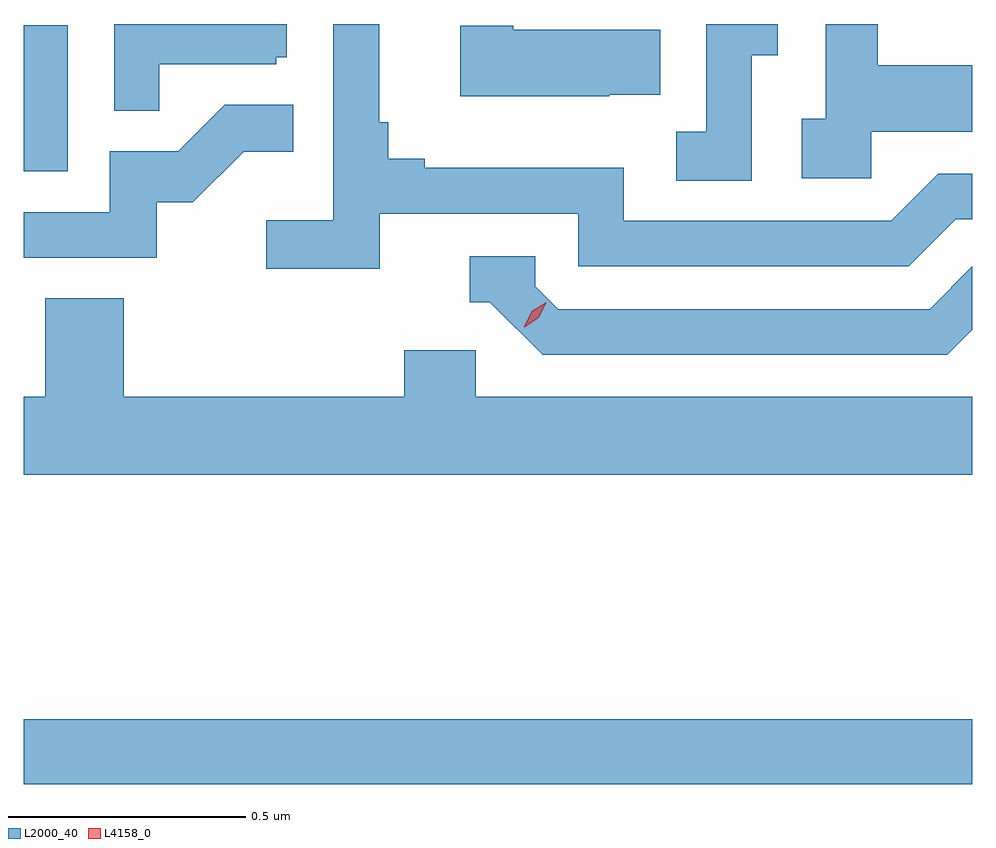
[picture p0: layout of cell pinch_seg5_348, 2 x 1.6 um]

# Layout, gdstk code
import gdstk
lib = gdstk.Library(unit=1e-6, precision=1e-09)
def R(c, l, rs):  # rectangles x0, y0, x1, y1
    for r in rs: c.add(gdstk.rectangle(r[:2], r[2:], *l))
def P(c, l, *ps):  # polygons
    for p in ps: c.add(gdstk.Polygon(p, *l))
L2000_40 = (2000, 40)
L4158_0 = (4158, 0)

pinch_seg5_348 = lib.new_cell('pinch_seg5_348')
R(pinch_seg5_348, L2000_40, [(1012.543,892.072,1014.543,892.208), (1012.543,893.364,1012.636,893.671)])
P(pinch_seg5_348, L2000_40, [(1012.829,893.589),(1013.076,893.589),(1013.076,893.604),(1013.098,893.604),(1013.098,893.674),(1012.734,893.674),(1012.734,893.491),(1012.829,893.491)],
  [(1014.078,893.608),(1014.133,893.608),(1014.133,893.674),(1013.982,893.674),(1013.982,893.447),(1013.919,893.447),(1013.919,893.344),(1014.078,893.344)],
  [(1014.33,893.447),(1014.543,893.447),(1014.543,893.587),(1014.343,893.587),(1014.343,893.674),(1014.234,893.674),(1014.234,893.474),(1014.183,893.474),(1014.183,893.349),(1014.33,893.349)],
  [(1013.294,893.274),(1013.712,893.274),(1013.712,893.163),(1014.409,893.163),(1014.508,893.262),(1014.543,893.262),(1014.543,893.358),(1014.471,893.358),(1014.372,893.259),(1013.808,893.259),(1013.808,893.371),(1013.389,893.371),(1013.389,893.39),(1013.312,893.39),(1013.312,893.467),(1013.293,893.467),(1013.293,893.674),(1013.196,893.674),(1013.196,893.26),(1013.055,893.26),(1013.055,893.158),(1013.294,893.158)],
  [(1013.777,893.525),(1013.885,893.525),(1013.885,893.662),(1013.575,893.662),(1013.575,893.67),(1013.463,893.67),(1013.463,893.522),(1013.777,893.522)],
  [(1012.824,893.298),(1012.9,893.298),(1013.007,893.405),(1013.111,893.405),(1013.111,893.504),(1012.967,893.504),(1012.869,893.406),(1012.725,893.406),(1012.725,893.277),(1012.543,893.277),(1012.543,893.181),(1012.824,893.181)],
  [(1014.543,893.03),(1014.543,893.163),(1014.453,893.073),(1013.67,893.073),(1013.622,893.121),(1013.622,893.184),(1013.483,893.184),(1013.483,893.088),(1013.526,893.088),(1013.637,892.977),(1014.49,892.977)],
  [(1014.543,892.888),(1013.496,892.888),(1013.496,892.986),(1013.345,892.986),(1013.345,892.888),(1012.754,892.888),(1012.754,893.096),(1012.589,893.096),(1012.589,892.888),(1012.543,892.888),(1012.543,892.724),(1014.543,892.724)])
P(pinch_seg5_348, L4158_0, [(1013.598,893.035),(1013.598,893.036),(1013.614,893.068),(1013.645,893.088),(1013.645,893.088),(1013.645,893.088),(1013.629,893.055),(1013.598,893.035)])

lib.write_gds('pinch_seg5_348.gds')
